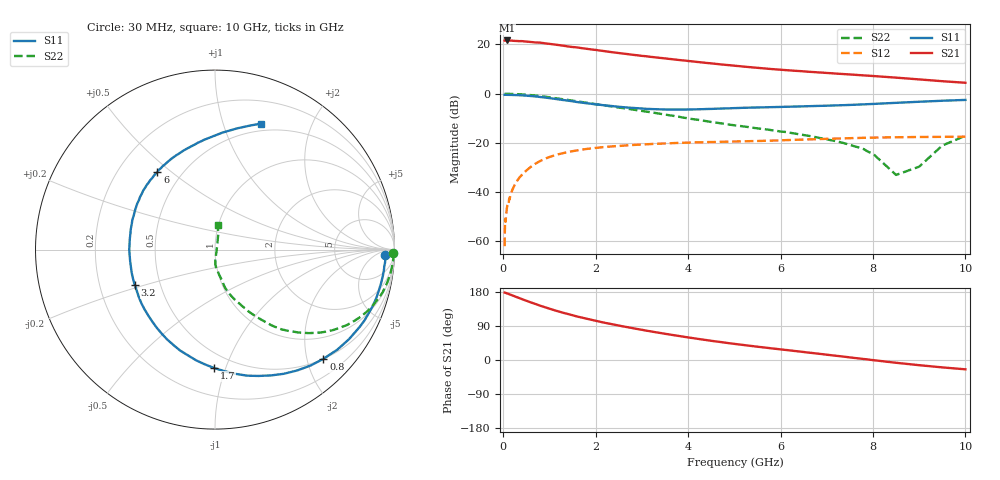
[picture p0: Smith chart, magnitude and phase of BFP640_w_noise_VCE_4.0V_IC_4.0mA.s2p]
! Infineon Technologies  Discrete & RF Semiconductors
! BFP640
! VCE =  4.0 V,  IC =  4.0 mA
! Common Emitter S-Parameters:  Apr 2013
# GHz  S  MA  R  50
!  f  S11  S21  S12  S22
! GHz  MAG  ANG  MAG  ANG  MAG  ANG  MAG  ANG
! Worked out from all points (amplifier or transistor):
!   99 points, 30 MHz to 10 GHz, reference 50 ohm
!   highest |S21| = 21.6 dB at 80 MHz (marker M1)
!   |S21| within 3 dB of that: start of sweep to 1.657 GHz
!   unconditionally stable (mu >= 1): 5.256 GHz to end of sweep
!   at 350 MHz: K = 0.08, MSG = 27.7 dB, |S12| = -34.1 dB
!   at 3.5 GHz: K = 0.76, MSG = 17.3 dB, |S12| = -20.2 dB
!   at 10 GHz: K = 1.18, MAG = 8.4 dB, |S12| = -17.5 dB
!   lowest NFmin = 0.54 dB at 450 MHz
!   S11 on the Smith chart (normalised r, x): 30 MHz: 29, -17; 800 MHz: 0.50, -2.31; 1.7 GHz: 0.39, -0.91; 3.2 GHz: 0.36, -0.18; 6 GHz: 0.37, +0.45; 10 GHz: 0.42, +1.35
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0.03  0.9497 -1.7  12.02 177.9  0.0008 84.2  0.9938 -1.0
0.04  0.9516 -2.2  11.9 177.5  0.0028 75.8  0.9943 -1.2
0.08  0.9499 -4.5  12.08 175.8  0.0048 79.9  0.9938 -2.5
0.2  0.9443 -11.3  11.96 170.3  0.0113 80.3  0.989 -6.4
0.4  0.9266 -22.7  11.72 160.9  0.0222 77.9  0.9686 -12.8
0.8  0.8574 -45.2  10.92 143.3  0.043 65.4  0.8949 -24.6
1  0.8146 -55.7  10.3 135.5  0.0518 59.4  0.8464 -29.8
1.2  0.7674 -66.0  9.73 128.0  0.0591 54.1  0.7946 -34.4
1.6  0.6774 -86.0  8.728 114.7  0.0707 45.1  0.6996 -41.7
1.7  0.6599 -90.4  8.424 112.0  0.073 43.3  0.6782 -43.1
2  0.6077 -104.5  7.755 103.5  0.0793 38.2  0.6153 -47.6
2.3  0.5679 -117.8  7.087 95.7  0.0842 33.3  0.5593 -51.2
2.7  0.5229 -135.2  6.365 86.3  0.0896 28.4  0.4921 -55.1
3.2  0.4889 -156.3  5.599 75.4  0.0951 23.0  0.4186 -59.7
3.4  0.4817 -164.6  5.337 71.3  0.0968 21.0  0.3905 -61.6
4.1  0.4796 169.4  4.527 57.8  0.1021 15.1  0.3047 -67.8
5.1  0.5134 142.5  3.637 41.0  0.1076 8.2  0.223 -74.9
6  0.5388 126.5  3.073 28.0  0.113 3.9  0.1705 -77.5
6.7  0.5616 115.6  2.761 18.3  0.1187 -0.1  0.1347 -81.4
7.8  0.6081 97.3  2.356 2.6  0.1271 -7.2  0.075 -88.8
8.5  0.653 86.4  2.122 -7.3  0.1305 -11.9  0.0224 -72.0
10  0.7484 69.8  1.669 -24.6  0.134 -19.9  0.1401 83.8
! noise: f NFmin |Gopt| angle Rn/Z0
0.45  0.54  0.5  12  0.12
0.9  0.55  0.5  22  0.12
1.5  0.6  0.44  35  0.12
1.9  0.65  0.39  51  0.12
2.4  0.7  0.36  59  0.11
3.5  0.85  0.3  87  0.11
5.5  1.13  0.3  -163  0.12
10  1.9  0.64  -65  0.47
